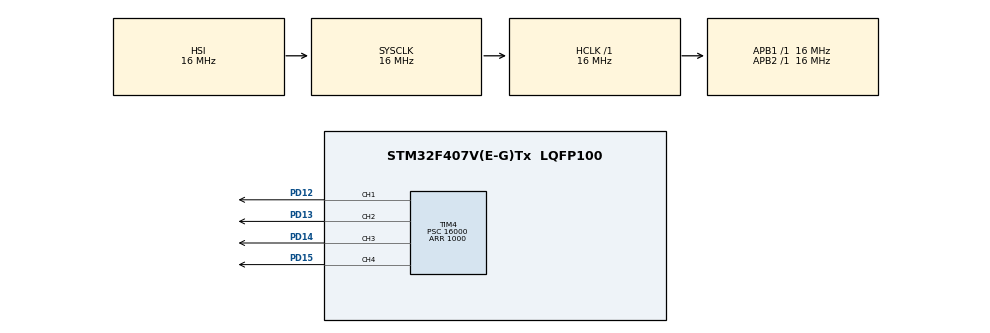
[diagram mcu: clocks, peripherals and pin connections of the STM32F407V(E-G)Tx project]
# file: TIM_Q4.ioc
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Mcu.Family=STM32F4
Mcu.Name=STM32F407V(E-G)Tx
Mcu.Package=LQFP100
NVIC.PriorityGroup=NVIC_PRIORITYGROUP_4
NVIC.TIM4_IRQn=true\:0\:0\:false\:false\:true\:true\:true\:true
PD12.Signal=S_TIM4_CH1
PD13.Signal=S_TIM4_CH2
PD14.Signal=S_TIM4_CH3
PD15.Signal=S_TIM4_CH4
ProjectManager.HeapSize=0x200
ProjectManager.StackSize=0x400
ProjectManager.TargetToolchain=STM32CubeIDE
RCC.AHBFreq_Value=16000000
RCC.APB1Freq_Value=16000000
RCC.APB2Freq_Value=16000000
RCC.CortexFreq_Value=16000000
RCC.HSE_VALUE=25000000
RCC.HSI_VALUE=16000000
RCC.LSE_VALUE=32768
RCC.SYSCLKFreq_VALUE=16000000
RCC.VCOOutputFreq_Value=192000000
SH.S_TIM4_CH1.0=TIM4_CH1,Output Compare1 CH1
SH.S_TIM4_CH2.0=TIM4_CH2,Output Compare2 CH2
SH.S_TIM4_CH3.0=TIM4_CH3,Output Compare3 CH3
SH.S_TIM4_CH4.0=TIM4_CH4,Output Compare4 CH4
TIM4.Channel-Output\ Compare1\ CH1=TIM_CHANNEL_1
TIM4.Channel-Output\ Compare2\ CH2=TIM_CHANNEL_2
TIM4.Channel-Output\ Compare3\ CH3=TIM_CHANNEL_3
TIM4.Channel-Output\ Compare4\ CH4=TIM_CHANNEL_4
TIM4.OCMode_1=TIM_OCMODE_TOGGLE
TIM4.OCMode_2=TIM_OCMODE_TOGGLE
TIM4.OCMode_3=TIM_OCMODE_TOGGLE
TIM4.OCMode_4=TIM_OCMODE_TOGGLE
TIM4.Period=1000
TIM4.Prescaler=16000
VP_TIM4_VS_ClockSourceINT.Mode=Internal
board=custom

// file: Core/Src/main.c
/* USER CODE BEGIN Header */
/**
  ******************************************************************************
  * @file           : main.c
  * @brief          : Main program body
  ******************************************************************************
  * @attention
  *
  * Copyright (c) 2026 STMicroelectronics.
  * All rights reserved.
  *
  * This software is licensed under terms that can be found in the LICENSE file
  * in the root directory of this software component.
  * If no LICENSE file comes with this software, it is provided AS-IS.
  *
  ******************************************************************************
  */
/* USER CODE END Header */
#include "main.h"

TIM_HandleTypeDef htim4;

/* USER CODE BEGIN PV */
volatile uint32_t ccr_value1 = 0, ccr_value2 = 0, ccr_value3 = 0,ccr_value4 = 0;

/* USER CODE END PV */

void SystemClock_Config(void);
static void MX_GPIO_Init(void);
static void MX_TIM4_Init(void);

int main(void)
{

  /* MCU Configuration--------------------------------------------------------*/

  /* Reset of all peripherals, Initializes the Flash interface and the Systick. */
  HAL_Init();

  /* Configure the system clock */
  SystemClock_Config();

  /* Initialize all configured peripherals */
  MX_GPIO_Init();
  MX_TIM4_Init();
  /* USER CODE BEGIN 2 */

  HAL_TIM_OC_Start_IT(&htim4, TIM_CHANNEL_1);
  HAL_TIM_OC_Start_IT(&htim4, TIM_CHANNEL_2);
  HAL_TIM_OC_Start_IT(&htim4, TIM_CHANNEL_3);
  HAL_TIM_OC_Start_IT(&htim4, TIM_CHANNEL_4);

  /* USER CODE END 2 */

  /* Infinite loop */
  while (1)
  {

  }
}

void SystemClock_Config(void)
{
  RCC_OscInitTypeDef RCC_OscInitStruct = {0};
  RCC_ClkInitTypeDef RCC_ClkInitStruct = {0};

  /** Configure the main internal regulator output voltage
  */
  __HAL_RCC_PWR_CLK_ENABLE();
  __HAL_PWR_VOLTAGESCALING_CONFIG(PWR_REGULATOR_VOLTAGE_SCALE1);

  /** Initializes the RCC Oscillators according to the specified parameters
  * in the RCC_OscInitTypeDef structure.
  */
  RCC_OscInitStruct.OscillatorType = RCC_OSCILLATORTYPE_HSI;
  RCC_OscInitStruct.HSIState = RCC_HSI_ON;
  RCC_OscInitStruct.HSICalibrationValue = RCC_HSICALIBRATION_DEFAULT;
  RCC_OscInitStruct.PLL.PLLState = RCC_PLL_NONE;
  if (HAL_RCC_OscConfig(&RCC_OscInitStruct) != HAL_OK)
  {
    Error_Handler();
  }

  /** Initializes the CPU, AHB and APB buses clocks
  */
  RCC_ClkInitStruct.ClockType = RCC_CLOCKTYPE_HCLK|RCC_CLOCKTYPE_SYSCLK
                              |RCC_CLOCKTYPE_PCLK1|RCC_CLOCKTYPE_PCLK2;
  RCC_ClkInitStruct.SYSCLKSource = RCC_SYSCLKSOURCE_HSI;
  RCC_ClkInitStruct.AHBCLKDivider = RCC_SYSCLK_DIV1;
  RCC_ClkInitStruct.APB1CLKDivider = RCC_HCLK_DIV1;
  RCC_ClkInitStruct.APB2CLKDivider = RCC_HCLK_DIV1;

  if (HAL_RCC_ClockConfig(&RCC_ClkInitStruct, FLASH_LATENCY_0) != HAL_OK)
  {
    Error_Handler();
  }
}

static void MX_TIM4_Init(void)
{

  TIM_ClockConfigTypeDef sClockSourceConfig = {0};
  TIM_MasterConfigTypeDef sMasterConfig = {0};
  TIM_OC_InitTypeDef sConfigOC = {0};

  htim4.Instance = TIM4;
  htim4.Init.Prescaler = 16000;
  htim4.Init.CounterMode = TIM_COUNTERMODE_UP;
  htim4.Init.Period = 1000;
  htim4.Init.ClockDivision = TIM_CLOCKDIVISION_DIV1;
  htim4.Init.AutoReloadPreload = TIM_AUTORELOAD_PRELOAD_DISABLE;
  if (HAL_TIM_Base_Init(&htim4) != HAL_OK)
  {
    Error_Handler();
  }
  sClockSourceConfig.ClockSource = TIM_CLOCKSOURCE_INTERNAL;
  if (HAL_TIM_ConfigClockSource(&htim4, &sClockSourceConfig) != HAL_OK)
  {
    Error_Handler();
  }
  if (HAL_TIM_OC_Init(&htim4) != HAL_OK)
  {
    Error_Handler();
  }
  sMasterConfig.MasterOutputTrigger = TIM_TRGO_RESET;
  sMasterConfig.MasterSlaveMode = TIM_MASTERSLAVEMODE_DISABLE;
  if (HAL_TIMEx_MasterConfigSynchronization(&htim4, &sMasterConfig) != HAL_OK)
  {
    Error_Handler();
  }
  sConfigOC.OCMode = TIM_OCMODE_TOGGLE;
  sConfigOC.Pulse = 0;
  sConfigOC.OCPolarity = TIM_OCPOLARITY_HIGH;
  sConfigOC.OCFastMode = TIM_OCFAST_DISABLE;
  if (HAL_TIM_OC_ConfigChannel(&htim4, &sConfigOC, TIM_CHANNEL_1) != HAL_OK)
  {
    Error_Handler();
  }
  if (HAL_TIM_OC_ConfigChannel(&htim4, &sConfigOC, TIM_CHANNEL_2) != HAL_OK)
  {
    Error_Handler();
  }
  if (HAL_TIM_OC_ConfigChannel(&htim4, &sConfigOC, TIM_CHANNEL_3) != HAL_OK)
  {
    Error_Handler();
  }
  if (HAL_TIM_OC_ConfigChannel(&htim4, &sConfigOC, TIM_CHANNEL_4) != HAL_OK)
  {
    Error_Handler();
  }
  HAL_TIM_MspPostInit(&htim4);

}

static void MX_GPIO_Init(void)
{

  /* GPIO Ports Clock Enable */
  __HAL_RCC_GPIOD_CLK_ENABLE();

}

/* USER CODE BEGIN 4 */
void HAL_TIM_OC_DelayElapsedCallback(TIM_HandleTypeDef *htim)
{

	if (htim->Channel == HAL_TIM_ACTIVE_CHANNEL_1)
	{
        htim->Instance->CCR1 = (200 + 200*ccr_value1) % 1000;
        ccr_value1++;
	}
	else if (htim->Channel == HAL_TIM_ACTIVE_CHANNEL_2)
	{
		htim->Instance->CCR2 = (400 + 400*ccr_value2) % 1000;
		ccr_value2++;
	}
	else if (htim->Channel == HAL_TIM_ACTIVE_CHANNEL_3)
	{
		htim->Instance->CCR3 = (600 + 600*ccr_value3) % 1000;
		ccr_value3++;
	}
	else if (htim->Channel == HAL_TIM_ACTIVE_CHANNEL_4)
	{
		htim->Instance->CCR4 = (800 + 800*ccr_value4) % 1000;
		ccr_value4++;
	}
}

/* USER CODE END 4 */

void Error_Handler(void)
{
  __disable_irq();
  while (1)
  {
  }
}
